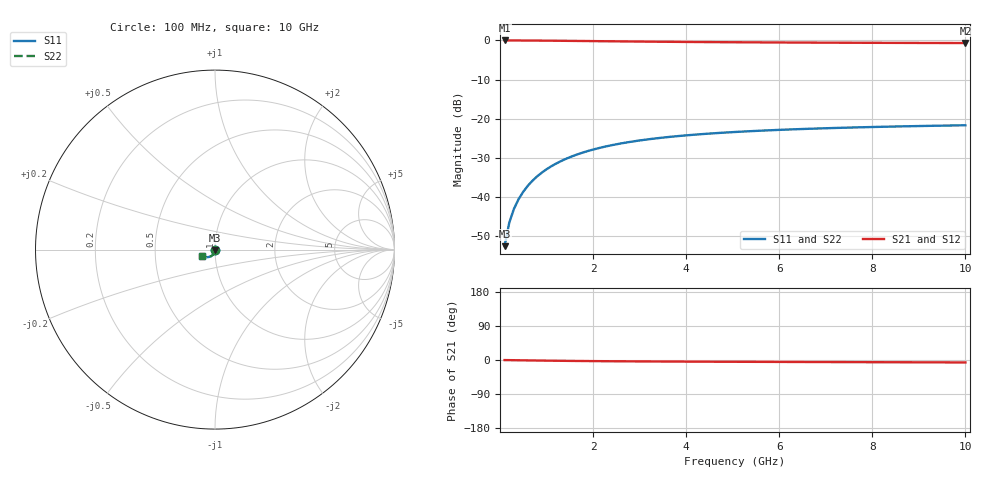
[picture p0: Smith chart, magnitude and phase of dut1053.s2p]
! Touchstone file exported from HFSS 2024.1.0
!  File:  C:/UserFiles/LocalFiles/RDL_TSV_Batchsim/temp_TSV1_1053_1780062792.aedt
!  Generated:  09:58:11 PM May 29, 2026
!  Design:  TSV1
!  Project:  temp_TSV1_1053_1780062792
!  Setup:  Setup1
!  Solution:  Sweep
! Variables:
!  dtsv = 14.59um
!  hbump = 3um
!  htsv = 98.1um
!  lrdl = 252.1521522um
!  p = 40
!  p1 = 46.9um
!  t = 500um
!  trdl = 3um
!  wrdl = 24.89489489um
# GHz S MA R 50.000000
! Terminal data exported
! Port[1] = TSV22_T1
! Port[2] = TSV22_T2
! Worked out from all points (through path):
!   100 points, 100 MHz to 10 GHz, reference 50 ohm
!   highest |S21| = 0.00 dB at 100 MHz (marker M1); lowest = -0.7 dB at 10 GHz (marker M2)
!   lowest |S11| = -52.7 dB at 100 MHz (marker M3), VSWR 1.00, Z = 50 - j0.232 ohm
!   |S11| at or under -10 dB: start of sweep to end of sweep
!   |S22| runs from -52.7 to -21.7 dB; largest |S21 - S12| = 2.4e-15
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0.1  0.002323 -89.3  0.9998 -0.2  0.9998 -0.2  0.002323 -89.3
! Gamma 0 0 0 0
! Port Impedance 50 0 50 0
0.2  0.004646 -91.9  0.9996 -0.4  0.9996 -0.4  0.004646 -91.9
0.3  0.006967 -93.9  0.9993 -0.5  0.9993 -0.5  0.006967 -93.9
0.4  0.009274 -95.7  0.9988 -0.7  0.9988 -0.7  0.009274 -95.7
0.5  0.01156 -97.5  0.9982 -0.9  0.9982 -0.9  0.01156 -97.5
0.6  0.01381 -99.2  0.9975 -1.0  0.9975 -1.0  0.01381 -99.2
0.7  0.01603 -100.8  0.9967 -1.2  0.9967 -1.2  0.01603 -100.8
0.8  0.0182 -102.5  0.9958 -1.4  0.9958 -1.4  0.0182 -102.5
0.9  0.02033 -104.1  0.9948 -1.5  0.9948 -1.5  0.02033 -104.1
1.1  0.02443 -107.1  0.9926 -1.8  0.9926 -1.8  0.02443 -107.1
1.4  0.03017 -111.4  0.989 -2.2  0.989 -2.2  0.03017 -111.4
1.6  0.03371 -114.1  0.9863 -2.5  0.9863 -2.5  0.03371 -114.1
1.8  0.037 -116.7  0.9836 -2.7  0.9836 -2.7  0.037 -116.7
2.1  0.04153 -120.2  0.9795 -3.0  0.9795 -3.0  0.04153 -120.2
2.5  0.04682 -124.4  0.9741 -3.3  0.9741 -3.3  0.04682 -124.4
2.9  0.05136 -128.1  0.969 -3.6  0.969 -3.6  0.05136 -128.1
3.4  0.05616 -132.1  0.9632 -3.9  0.9632 -3.9  0.05616 -132.1
4.2  0.06229 -137.3  0.9552 -4.3  0.9552 -4.3  0.06229 -137.3
5.1  0.06755 -142.0  0.9479 -4.7  0.9479 -4.7  0.06755 -142.0
6.7  0.07417 -148.2  0.9383 -5.3  0.9383 -5.3  0.07417 -148.2
8.4  0.07889 -152.9  0.9311 -5.9  0.9311 -5.9  0.07889 -152.9
10  0.08201 -156.3  0.9262 -6.4  0.9262 -6.4  0.08201 -156.3
